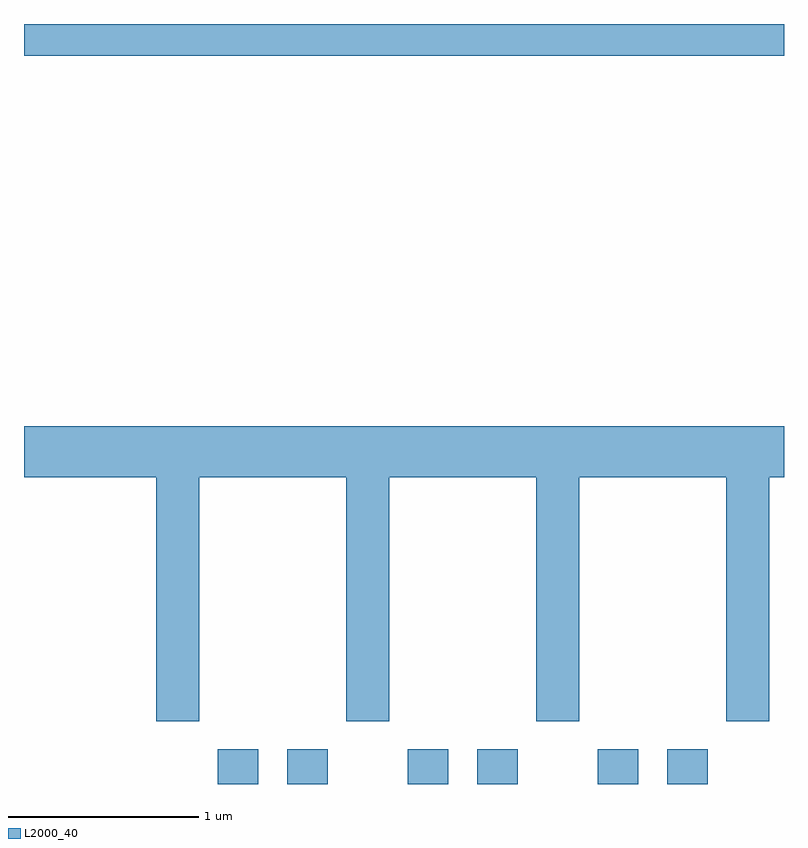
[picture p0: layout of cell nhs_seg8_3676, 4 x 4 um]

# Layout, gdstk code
import gdstk
lib = gdstk.Library(unit=1e-6, precision=1e-09)
def R(c, l, rs):  # rectangles x0, y0, x1, y1
    for r in rs: c.add(gdstk.rectangle(r[:2], r[2:], *l))
def P(c, l, *ps):  # polygons
    for p in ps: c.add(gdstk.Polygon(p, *l))
L2000_40 = (2000, 40)

nhs_seg8_3676 = lib.new_cell('nhs_seg8_3676')
R(nhs_seg8_3676, L2000_40, [(296.631,1850.342,296.844,1850.524), (296.996,1850.342,297.209,1850.524), (297.631,1850.342,297.844,1850.524), (297.996,1850.342,298.209,1850.524), (298.631,1850.342,298.844,1850.524), (298.996,1850.342,299.209,1850.524), (295.611,1854.176,299.611,1854.342)])
P(nhs_seg8_3676, L2000_40, [(295.611,1851.956),(296.306,1851.956),(296.306,1850.671),(296.534,1850.671),(296.534,1851.956),(297.306,1851.956),(297.306,1850.671),(297.534,1850.671),(297.534,1851.956),(298.306,1851.956),(298.306,1850.671),(298.534,1850.671),(298.534,1851.956),(299.306,1851.956),(299.306,1850.671),(299.534,1850.671),(299.534,1851.956),(299.611,1851.956),(299.611,1852.224),(295.611,1852.224)])

lib.write_gds('nhs_seg8_3676.gds')
